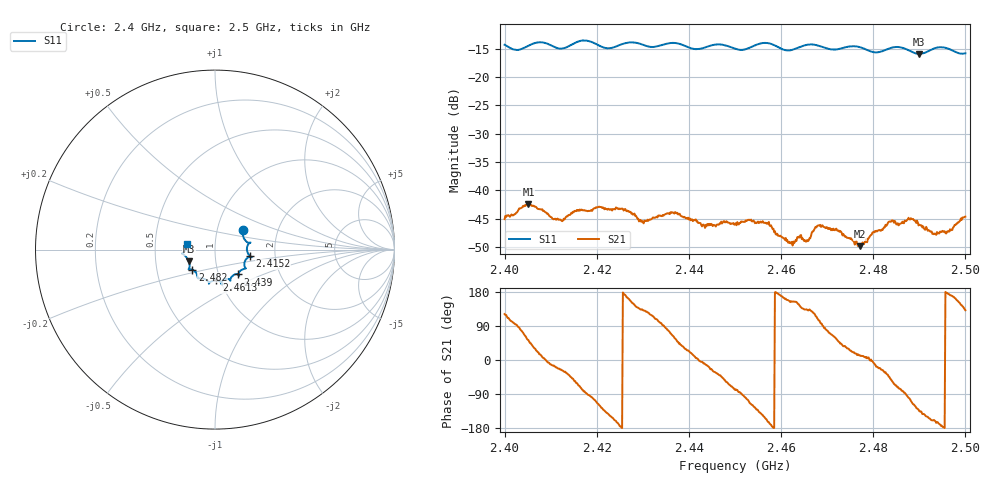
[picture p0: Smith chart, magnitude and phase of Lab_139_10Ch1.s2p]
# Hz S RI R 50
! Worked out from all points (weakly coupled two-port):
!   601 points, 2.4 GHz to 2.5 GHz, reference 50 ohm
!   highest |S21| = -42.46 dB at 2.4052 GHz (marker M1); lowest = -49.8 dB at 2.4772 GHz (marker M2)
!   lowest |S11| = -15.9 dB at 2.4898 GHz (marker M3), VSWR 1.38, Z = 37 - j5.04 ohm
!   |S11| at or under -10 dB: start of sweep to end of sweep
!   S12 and S22 are empty: the file has one direction only
!   S11 on the Smith chart (normalised r, x): 2.4 GHz: 1.33, +0.31; 2.4152 GHz: 1.48, -0.11; 2.439 GHz: 1.24, -0.36; 2.4613 GHz: 0.96, -0.34; 2.482 GHz: 0.76, -0.17; 2.5 GHz: 0.73, +0.05
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2.4e9  0.1566 0.1112  -0.0029 0.00477  0 0  0 0
2.405167e9  0.1842 0.0386  0.0046 0.00596  0 0  0 0
2.412167e9  0.1775 0.00349  0.00502 -0.0023  0 0  0 0
2.415167e9  0.1948 -0.0365  0.00372 -0.00545  0 0  0 0
2.416667e9  0.2043 -0.0424  0.00172 -0.00656  0 0  0 0
2.422333e9  0.1671 -0.0635  -0.00527 -0.00424  0 0  0 0
2.425667e9  0.1679 -0.1  -0.00685 0.000213  0 0  0 0
2.429667e9  0.1622 -0.1073  -0.00363 0.00386  0 0  0 0
2.433333e9  0.1321 -0.1325  -0.00131 0.00585  0 0  0 0
2.439e9  0.1282 -0.1385  0.00497 0.00309  0 0  0 0
2.443333e9  0.0889 -0.1575  0.00483 -0.000749  0 0  0 0
2.45e9  0.0691 -0.1635  0.000997 -0.00492  0 0  0 0
2.456833e9  0.0397 -0.195  -0.00467 -0.00203  0 0  0 0
2.461333e9  0.00729 -0.171  -0.00341 0.00134  0 0  0 0
2.466667e9  -0.0335 -0.1903  -0.00262 0.00334  0 0  0 0
2.4685e9  -0.0343 -0.1832  -0.000765 0.00491  0 0  0 0
2.477167e9  -0.096 -0.1553  0.00316 0.000676  0 0  0 0
2.482e9  -0.1262 -0.1118  0.004 -0.00201  0 0  0 0
2.483333e9  -0.1392 -0.1098  0.00382 -0.00365  0 0  0 0
2.489833e9  -0.145 -0.0662  -0.00324 -0.0037  0 0  0 0
2.493833e9  -0.1797 -0.0241  -0.00412 -0.00122  0 0  0 0
2.5e9  -0.1582 0.0326  -0.00388 0.00442  0 0  0 0
